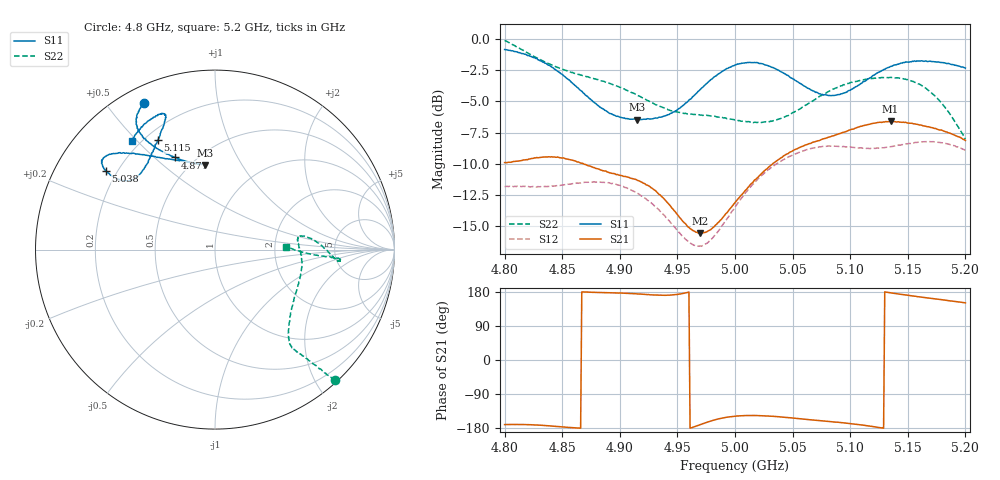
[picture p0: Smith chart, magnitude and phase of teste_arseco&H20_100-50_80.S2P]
! Network Analyzer HP8722D
! Hewlett-Packard
! Data name: Linha & Wilkinson
! Saver's name: Rodrigo Anjos
! Comments: Teste da utilização de aquisição
! continua pelo VNA HP8722D
! Time and date: 6/5/2025 13:14
!  Frequency  S11  S21  S12  S22
# HZ  S  MA R 50
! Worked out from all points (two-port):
!   401 points, 4.8 GHz to 5.2 GHz, reference 50 ohm
!   highest |S21| = -6.61 dB at 5.135 GHz (marker M1); lowest = -15.5 dB at 4.97 GHz (marker M2)
!   |S21| within 3 dB of the highest: 4.822 GHz to 4.854 GHz (32.06 MHz wide, 0.663 % of centre); 5.039 GHz to end of sweep
!   lowest |S11| = -6.5 dB at 4.915 GHz (marker M3), VSWR 2.81, Z = 29.1 + j35.5 ohm
!   |S11| at or under -10 dB: nowhere
!   |S22| runs from -8.0 to -0.1 dB; largest |S21 - S12| = 0.83
!   S11 on the Smith chart (normalised r, x): 4.8 GHz: 0.07, +0.63; 4.877 GHz: 0.39, +0.58; 5.038 GHz: 0.16, +0.31; 5.115 GHz: 0.25, +0.58; 5.2 GHz: 0.17, +0.48
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4.8e9  0.9058 115.8  0.3198 -170.5  0.2565 -86.1  0.9847 -47.4
4.834e9  0.805 122.7  0.3367 -172.6  0.2563 -77.0  0.8115 -49.7
4.849e9  0.7249 122.1  0.334 -176.2  0.2598 -71.8  0.7591 -50.5
4.867e9  0.6172 117.9  0.3179 179.7  0.2656 -67.4  0.7146 -51.5
4.877e9  0.5594 113.4  0.3058 178.5  0.2676 -66.3  0.6945 -51.9
4.901e9  0.4849 100.6  0.2837 176.6  0.2579 -66.8  0.6386 -50.0
4.915e9  0.4751 96.4  0.2721 174.4  0.2413 -68.3  0.5948 -46.4
4.934e9  0.4857 99.4  0.2387 171.1  0.207 -69.4  0.5382 -37.6
4.949e9  0.5161 108.7  0.2009 172.7  0.1735 -66.1  0.5106 -27.8
4.97e9  0.6282 124.0  0.1671 -170.4  0.1484 -46.6  0.4948 -14.4
4.981e9  0.6972 129.9  0.176 -159.2  0.1608 -34.0  0.4897 -8.8
5e9  0.7857 137.2  0.2213 -148.3  0.2125 -21.4  0.4729 -0.3
5.018e9  0.8022 141.6  0.2739 -146.5  0.269 -18.3  0.4635 5.8
5.038e9  0.748 144.3  0.3294 -149.6  0.3207 -18.4  0.4777 8.8
5.067e9  0.621 142.0  0.3849 -158.1  0.3651 -20.6  0.563 4.7
5.088e9  0.5956 133.1  0.4137 -164.0  0.3714 -23.7  0.6368 -1.7
5.115e9  0.6895 117.5  0.4537 -173.7  0.3646 -26.7  0.6901 -5.4
5.134e9  0.7699 111.2  0.4661 177.8  0.3696 -28.7  0.7002 -4.8
5.135e9  0.7745 111.1  0.467 177.3  0.3701 -28.8  0.7009 -4.8
5.163e9  0.8149 113.1  0.449 165.4  0.3871 -35.6  0.6454 -3.7
5.18e9  0.8029 118.9  0.4301 158.9  0.3835 -40.9  0.5493 -2.9
5.2e9  0.7635 127.3  0.392 150.8  0.3584 -46.4  0.397 2.3
